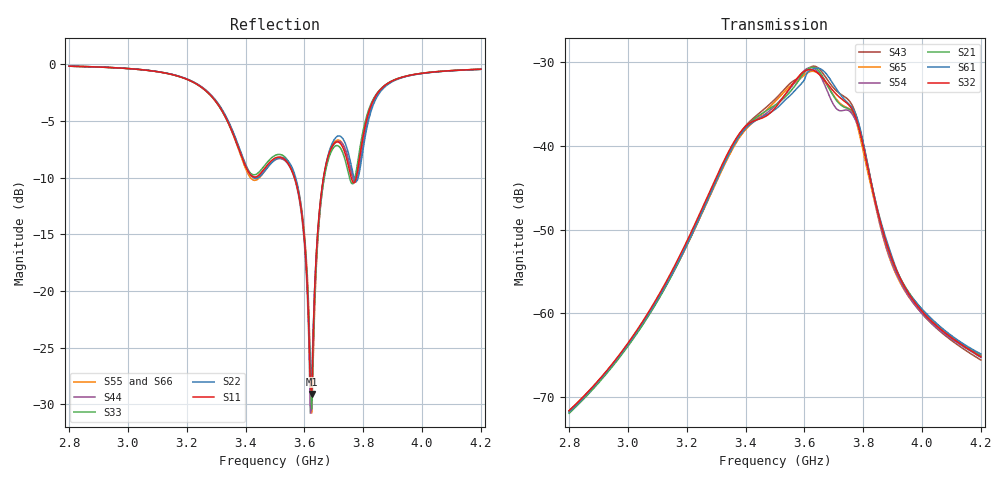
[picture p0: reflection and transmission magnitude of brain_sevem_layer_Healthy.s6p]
! Touchstone file exported from HFSS 2024.2.0
!  File:  D:/Jatin/new.aedt
!  Generated:  10:48:09 PM Sep 26, 2026
!  Design:  Healthy
!  Project:  new
!  Setup:  Setup1
!  Solution:  Sweep
! Variables:
!  $L = 85mm
!  $W = 35mm
!  H = 1.575mm
!  L = 42mm
!  W = 35mm
!  Wb = 6mm
!  a = 3.5mm
!  ant_dist = 115mm
!  ant_gap = 3mm
!  b = 5mm
!  c = 5mm
!  d = 2mm
!  g1 = 2mm
!  g2 = 2mm
!  g3 = 1mm
!  g4 = 2mm
!  gap = 10mm
!  r1 = 3.5mm
!  r2 = 6mm
!  r_brain = 95mm
!  r_brain_ad = 61.68mm
!  r_csf = 95.5mm
!  r_csf_expanded = 64.6mm
!  r_csf_inner = 61.68mm
!  r_csf_outer = 83.5mm
!  r_fat = 87.5mm
!  r_gray = 70.55mm
!  r_gray_healthy = 83mm
!  r_grey_healthy = 83mm
!  r_hippo_healthy = 25mm
!  r_skin = 88mm
!  r_skull = 86.5mm
!  r_white = 17.5mm
!  r_white_healthy = 76mm
!  slot_distance = 15mm
!  wc = 12mm
!  y1 = 15mm
!  y2 = 5mm
!  y4 = 11mm
!  z_ebg = -94.575mm
! Terminal data exported
! Port[1] = FEED_3_T4
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# GHz S MA R 50.000000
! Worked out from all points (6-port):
!   281 points, 2.8 GHz to 4.2 GHz, reference 50 ohm
!   strongest paths, dB at 2.8 GHz, 3.15 GHz, 3.5 GHz, 3.85 GHz, 4.2 GHz:
!     S32: -71.6, -54.9, -35.5, -48.0, -65.2
!     S61: -71.8, -55.3, -35.7, -47.8, -64.9
!     S21: -72.0, -55.4, -35.1, -47.8, -65.1
!     S54: -71.8, -55.3, -35.2, -48.3, -65.3
!     S65: -71.7, -55.3, -34.7, -48.4, -65.0
!     S43: -71.7, -55.4, -34.4, -48.1, -65.6
!   lowest |S11| = -29.1 dB at 3.625 GHz (marker M1), VSWR 1.07, Z = 53.6 + j0.242 ohm
!   |S11| at or under -10 dB: 3.566 GHz to 3.665 GHz (98.72 MHz wide, 2.73 % of centre); 3.759027 GHz to 3.776065 GHz (17.04 MHz wide, 0.452 % of centre)
